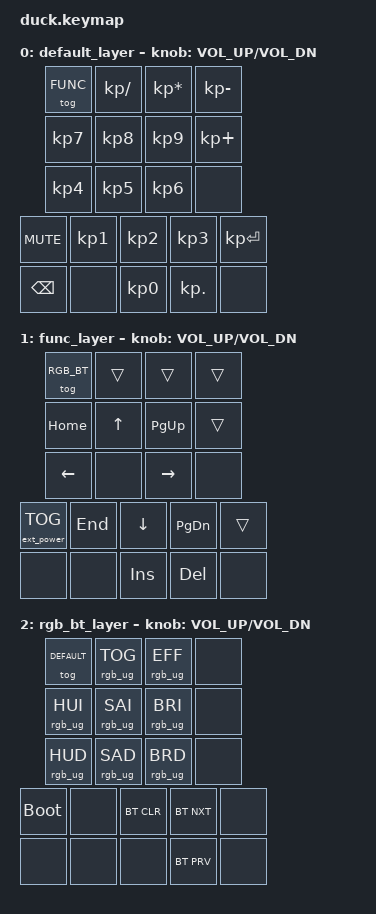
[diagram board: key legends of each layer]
/* Copyright (c) 2020 The ZMK Contributors
 * SPDX-License-Identifier: MIT
 *
 * Author: Jack Hartstein
 */

#include <behaviors.dtsi>
#include <dt-bindings/zmk/keys.h>
#include <dt-bindings/zmk/rgb.h>
#include <dt-bindings/zmk/bt.h>
#include <dt-bindings/zmk/ext_power.h>

#define DEFAULT 0
#define FUNC 1
#define RGB_BT 2

/ {
	keymap {
		compatible = "zmk,keymap";
		
		default_layer {
			bindings = <
						&tog FUNC	&kp KP_SLASH	&kp KP_ASTERISK		&kp KP_MINUS
						&kp KP_NUMBER_7 &kp KP_NUMBER_8 &kp KP_NUMBER_9		&kp KP_PLUS
						&kp KP_NUMBER_4 &kp KP_NUMBER_5 &kp KP_NUMBER_6 	&none
				&kp K_MUTE	&kp KP_NUMBER_1 &kp KP_NUMBER_2 &kp KP_NUMBER_3 	&kp KP_ENTER
				&kp BACKSPACE	&none 		&kp KP_NUMBER_0 &kp KP_DOT      	&none
			>;

			sensor-bindings = <&inc_dec_kp C_VOL_UP C_VOL_DN>;
		};

		 func_layer {
			 bindings = <
							&tog RGB_BT	&trans     	&trans 		&trans
							&kp HOME    	&kp UP    	&kp PG_UP    	&trans
							&kp LEFT    	&none      	&kp RIGHT      	&none
				&ext_power EP_TOG	&kp END    	&kp DOWN    	&kp PG_DN    	&trans
				&none			&none	 	&kp INS         &kp DEL		&none
			 >;

			sensor-bindings = <&inc_dec_kp C_VOL_UP C_VOL_DN>;
		 };

		 rgb_bt_layer {
                         bindings = <
                                                &tog DEFAULT    &rgb_ug RGB_TOG &rgb_ug RGB_EFF         &none
                                        	&rgb_ug RGB_HUI &rgb_ug RGB_SAI &rgb_ug RGB_BRI         &none
                             		        &rgb_ug RGB_HUD &rgb_ug RGB_SAD &rgb_ug RGB_BRD         &none
                                &bootloader     &none  	 	&bt BT_CLR 	&bt BT_NXT         	&none
                                &none		&none           &none    	&bt BT_PRV              &none
                         >;
			sensor-bindings = <&inc_dec_kp C_VOL_UP C_VOL_DN>;
                 };
	};
};
